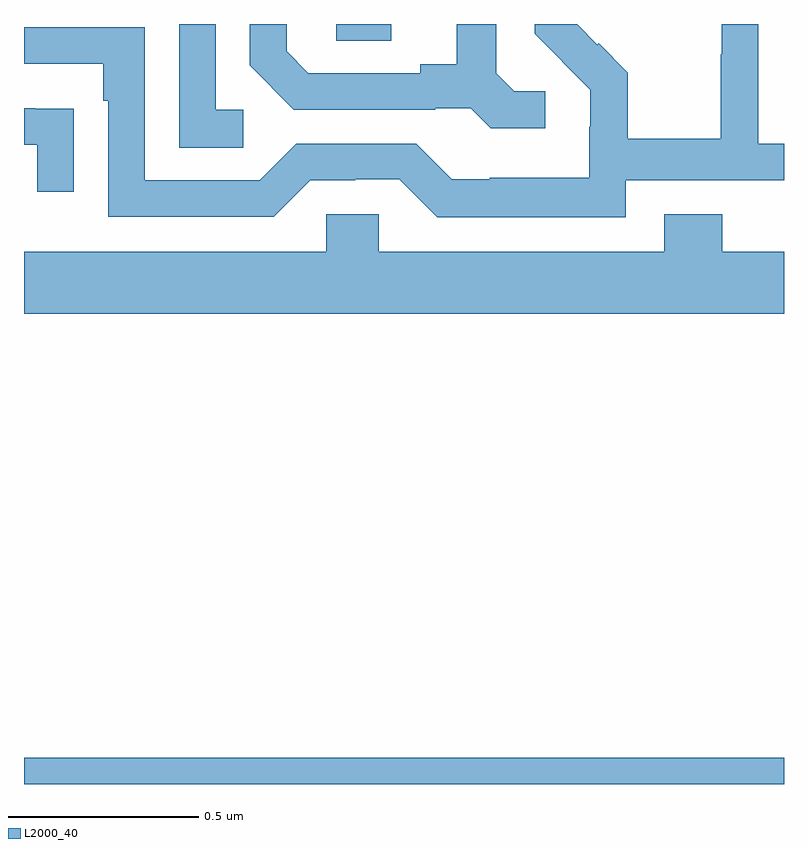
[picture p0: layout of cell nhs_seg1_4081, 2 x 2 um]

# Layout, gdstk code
import gdstk
lib = gdstk.Library(unit=1e-6, precision=1e-09)
def R(c, l, rs):  # rectangles x0, y0, x1, y1
    for r in rs: c.add(gdstk.rectangle(r[:2], r[2:], *l))
def P(c, l, *ps):  # polygons
    for p in ps: c.add(gdstk.Polygon(p, *l))
L2000_40 = (2000, 40)

nhs_seg1_4081 = lib.new_cell('nhs_seg1_4081')
R(nhs_seg1_4081, L2000_40, [(162,513.199,164,513.268), (162.822,515.155,162.967,515.199)])
P(nhs_seg1_4081, L2000_40, [(163.372,515.022),(163.29,515.022),(163.243,515.069),(163.243,515.199),(163.139,515.199),(163.139,515.093),(163.043,515.093),(163.043,515.07),(162.748,515.07),(162.691,515.127),(162.691,515.199),(162.594,515.199),(162.594,515.09),(162.71,514.974),(163.082,514.974),(163.082,514.977),(163.176,514.977),(163.228,514.925),(163.372,514.925)],
  [(163.584,514.788),(164,514.788),(164,514.884),(163.932,514.884),(163.932,515.199),(163.836,515.199),(163.836,515.12),(163.834,515.12),(163.834,514.897),(163.589,514.897),(163.589,515.071),(163.512,515.148),(163.509,515.145),(163.456,515.199),(163.344,515.199),(163.344,515.174),(163.417,515.101),(163.416,515.1),(163.49,515.026),(163.49,514.929),(163.488,514.929),(163.488,514.795),(163.225,514.795),(163.225,514.791),(163.125,514.791),(163.032,514.884),(162.717,514.884),(162.621,514.788),(162.318,514.788),(162.318,515.19),(162,515.19),(162,515.094),(162.209,515.094),(162.209,514.997),(162.222,514.997),(162.222,514.692),(162.657,514.692),(162.753,514.788),(162.872,514.788),(162.872,514.791),(162.987,514.791),(163.087,514.691),(163.584,514.691)],
  [(162.577,514.974),(162.504,514.974),(162.504,515.199),(162.408,515.199),(162.408,514.873),(162.577,514.873)],
  [(162.131,514.976),(162.029,514.976),(162.029,514.977),(162,514.977),(162,514.881),(162.035,514.881),(162.035,514.758),(162.131,514.758)],
  [(164,514.6),(163.838,514.6),(163.838,514.699),(163.685,514.699),(163.685,514.6),(162.933,514.6),(162.933,514.698),(162.795,514.698),(162.795,514.6),(162,514.6),(162,514.436),(164,514.436)])

lib.write_gds('nhs_seg1_4081.gds')
